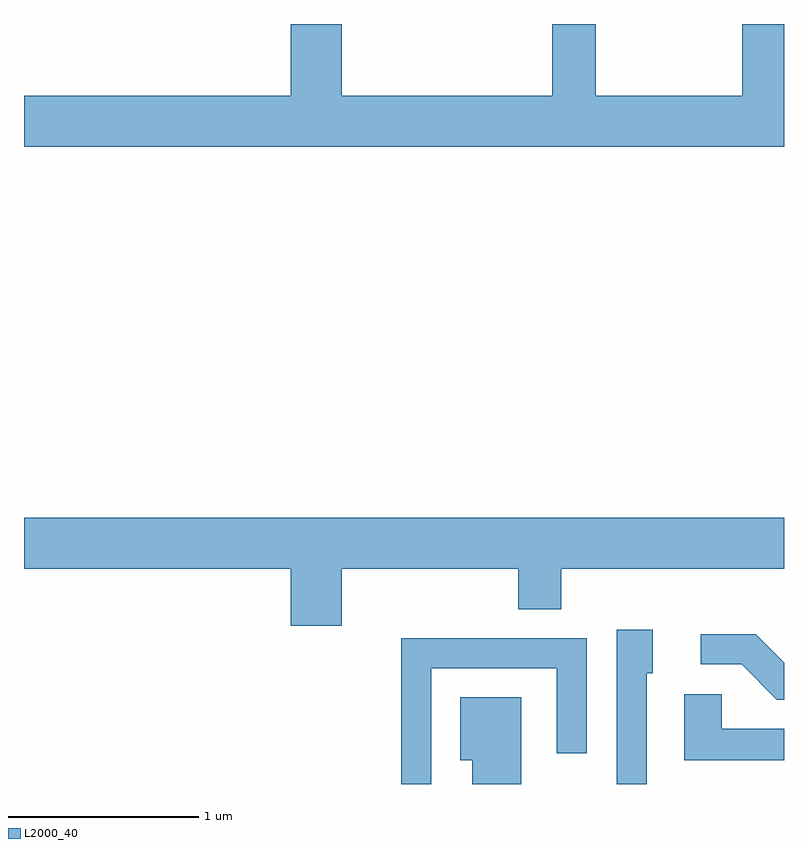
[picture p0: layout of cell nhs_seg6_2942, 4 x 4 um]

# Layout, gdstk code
import gdstk
lib = gdstk.Library(unit=1e-6, precision=1e-09)
def P(c, l, *ps):  # polygons
    for p in ps: c.add(gdstk.Polygon(p, *l))
L2000_40 = (2000, 40)

nhs_seg6_2942 = lib.new_cell('nhs_seg6_2942')
P(nhs_seg6_2942, L2000_40, [(277.611,1626.162),(277.391,1626.162),(277.391,1625.784),(276.619,1625.784),(276.619,1626.162),(276.391,1626.162),(276.391,1625.784),(275.284,1625.784),(275.284,1626.162),(275.016,1626.162),(275.016,1625.784),(273.611,1625.784),(273.611,1625.516),(277.611,1625.516)],
  [(275.284,1623.296),(276.211,1623.296),(276.211,1623.081),(276.439,1623.081),(276.439,1623.296),(277.611,1623.296),(277.611,1623.564),(273.611,1623.564),(273.611,1623.296),(275.016,1623.296),(275.016,1622.996),(275.284,1622.996)],
  [(276.889,1622.746),(276.919,1622.746),(276.919,1622.974),(276.731,1622.974),(276.731,1622.162),(276.889,1622.162)],
  [(277.611,1622.8),(277.462,1622.949),(277.173,1622.949),(277.173,1622.791),(277.389,1622.791),(277.574,1622.606),(277.611,1622.606)],
  [(275.754,1622.771),(276.416,1622.771),(276.416,1622.323),(276.574,1622.323),(276.574,1622.929),(275.596,1622.929),(275.596,1622.162),(275.754,1622.162)],
  [(277.611,1622.454),(277.284,1622.454),(277.284,1622.634),(277.086,1622.634),(277.086,1622.286),(277.611,1622.286)],
  [(276.229,1622.619),(275.906,1622.619),(275.906,1622.286),(275.971,1622.286),(275.971,1622.162),(276.229,1622.162)])

lib.write_gds('nhs_seg6_2942.gds')
